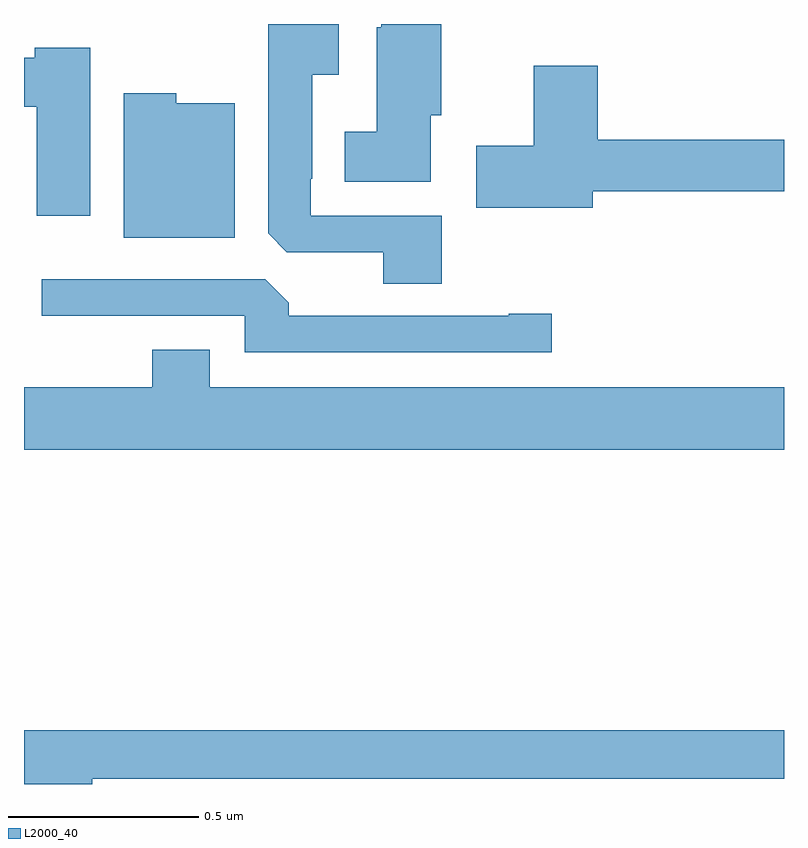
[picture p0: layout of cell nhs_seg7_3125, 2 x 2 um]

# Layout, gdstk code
import gdstk
lib = gdstk.Library(unit=1e-6, precision=1e-09)
def P(c, l, *ps):  # polygons
    for p in ps: c.add(gdstk.Polygon(p, *l))
L2000_40 = (2000, 40)

nhs_seg7_3125 = lib.new_cell('nhs_seg7_3125')
P(nhs_seg7_3125, L2000_40, [(155.099,1070.496),(154.755,1070.496),(154.755,1070.593),(154.759,1070.593),(154.759,1070.867),(154.828,1070.867),(154.828,1071),(154.643,1071),(154.643,1070.449),(154.692,1070.4),(154.946,1070.4),(154.946,1070.317),(155.099,1070.317)],
  [(155.071,1070.76),(155.098,1070.76),(155.098,1071),(154.94,1071),(154.94,1070.991),(154.928,1070.991),(154.928,1070.716),(154.844,1070.716),(154.844,1070.585),(155.071,1070.585)],
  [(154.174,1070.938),(154.028,1070.938),(154.028,1070.911),(154,1070.911),(154,1070.782),(154.033,1070.782),(154.033,1070.496),(154.174,1070.496)],
  [(155.497,1070.56),(156,1070.56),(156,1070.696),(155.51,1070.696),(155.51,1070.89),(155.342,1070.89),(155.342,1070.679),(155.19,1070.679),(155.19,1070.516),(155.497,1070.516)],
  [(154.555,1070.791),(154.401,1070.791),(154.401,1070.818),(154.262,1070.818),(154.262,1070.438),(154.555,1070.438)],
  [(155.389,1070.237),(155.276,1070.237),(155.276,1070.232),(154.697,1070.232),(154.697,1070.266),(154.635,1070.328),(154.047,1070.328),(154.047,1070.232),(154.581,1070.232),(154.581,1070.136),(155.389,1070.136)],
  [(156,1070.044),(154.489,1070.044),(154.489,1070.143),(154.337,1070.143),(154.337,1070.044),(154,1070.044),(154,1069.88),(156,1069.88)],
  [(154.18,1069.014),(156,1069.014),(156,1069.142),(154,1069.142),(154,1069),(154.18,1069)])

lib.write_gds('nhs_seg7_3125.gds')
